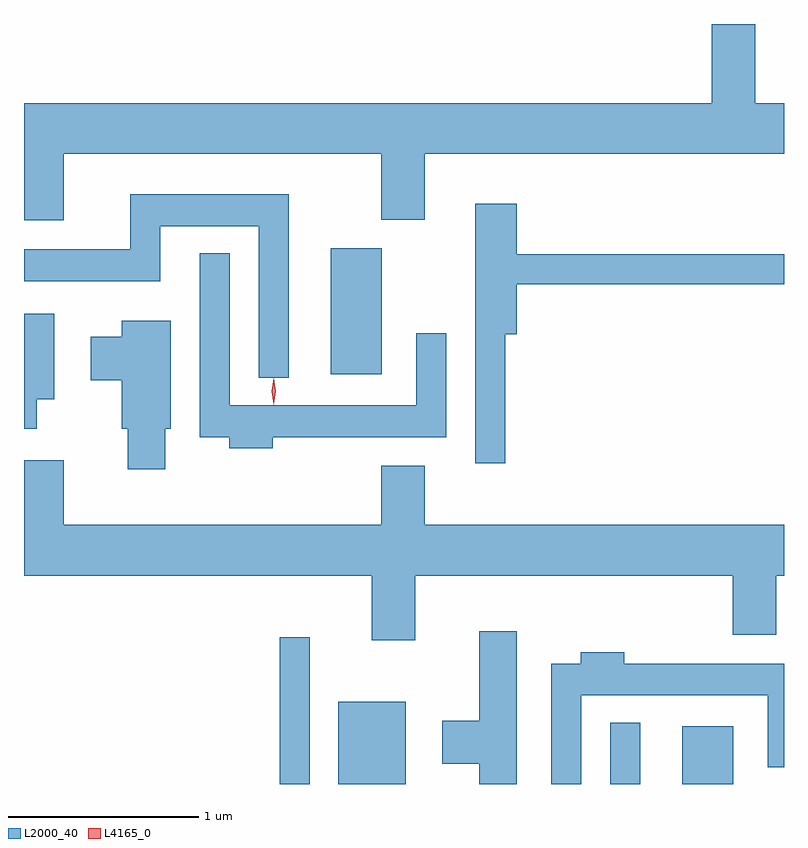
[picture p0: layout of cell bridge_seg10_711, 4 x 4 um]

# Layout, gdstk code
import gdstk
lib = gdstk.Library(unit=1e-6, precision=1e-09)
def R(c, l, rs):  # rectangles x0, y0, x1, y1
    for r in rs: c.add(gdstk.rectangle(r[:2], r[2:], *l))
def P(c, l, *ps):  # polygons
    for p in ps: c.add(gdstk.Polygon(p, *l))
L2000_40 = (2000, 40)
L4165_0 = (4165, 0)

bridge_seg10_711 = lib.new_cell('bridge_seg10_711')
R(bridge_seg10_711, L2000_40, [(1046.006,2097.28,1046.164,2098.053), (1046.316,2097.28,1046.669,2097.714), (1047.746,2097.28,1047.904,2097.603), (1048.126,2097.28,1048.394,2097.584), (1046.276,2099.436,1046.544,2100.099)])
P(bridge_seg10_711, L2000_40, [(1044.869,2100.596),(1046.541,2100.596),(1046.541,2100.251),(1046.769,2100.251),(1046.769,2100.596),(1048.661,2100.596),(1048.661,2100.864),(1048.509,2100.864),(1048.509,2101.28),(1048.281,2101.28),(1048.281,2100.864),(1044.661,2100.864),(1044.661,2100.246),(1044.869,2100.246)],
  [(1046.054,2100.384),(1045.221,2100.384),(1045.221,2100.094),(1044.661,2100.094),(1044.661,2099.926),(1045.379,2099.926),(1045.379,2100.216),(1045.896,2100.216),(1045.896,2099.418),(1046.054,2099.418)],
  [(1047.194,2099.646),(1047.254,2099.646),(1047.254,2099.911),(1048.661,2099.911),(1048.661,2100.069),(1047.254,2100.069),(1047.254,2100.334),(1047.036,2100.334),(1047.036,2098.968),(1047.194,2098.968)],
  [(1045.969,2099.106),(1046.884,2099.106),(1046.884,2099.653),(1046.726,2099.653),(1046.726,2099.274),(1045.744,2099.274),(1045.744,2100.073),(1045.586,2100.073),(1045.586,2099.106),(1045.741,2099.106),(1045.741,2099.046),(1045.969,2099.046)],
  [(1044.729,2099.306),(1044.819,2099.306),(1044.819,2099.754),(1044.661,2099.754),(1044.661,2099.151),(1044.729,2099.151)],
  [(1045.404,2099.151),(1045.434,2099.151),(1045.434,2099.719),(1045.176,2099.719),(1045.176,2099.634),(1045.011,2099.634),(1045.011,2099.406),(1045.176,2099.406),(1045.176,2099.151),(1045.206,2099.151),(1045.206,2098.936),(1045.404,2098.936)],
  [(1046.719,2098.376),(1048.391,2098.376),(1048.391,2098.066),(1048.619,2098.066),(1048.619,2098.376),(1048.661,2098.376),(1048.661,2098.644),(1046.769,2098.644),(1046.769,2098.954),(1046.541,2098.954),(1046.541,2098.644),(1044.869,2098.644),(1044.869,2098.984),(1044.661,2098.984),(1044.661,2098.376),(1046.491,2098.376),(1046.491,2098.036),(1046.719,2098.036)],
  [(1047.254,2098.084),(1047.056,2098.084),(1047.056,2097.614),(1046.861,2097.614),(1046.861,2097.386),(1047.056,2097.386),(1047.056,2097.28),(1047.254,2097.28)],
  [(1047.594,2097.746),(1048.576,2097.746),(1048.576,2097.368),(1048.661,2097.368),(1048.661,2097.914),(1047.819,2097.914),(1047.819,2097.974),(1047.591,2097.974),(1047.591,2097.914),(1047.436,2097.914),(1047.436,2097.28),(1047.594,2097.28)])
P(bridge_seg10_711, L4165_0, [(1045.976,2099.277),(1045.975,2099.278),(1045.966,2099.347),(1045.975,2099.416),(1045.976,2099.416),(1045.976,2099.416),(1045.986,2099.347),(1045.976,2099.278)])

lib.write_gds('bridge_seg10_711.gds')
